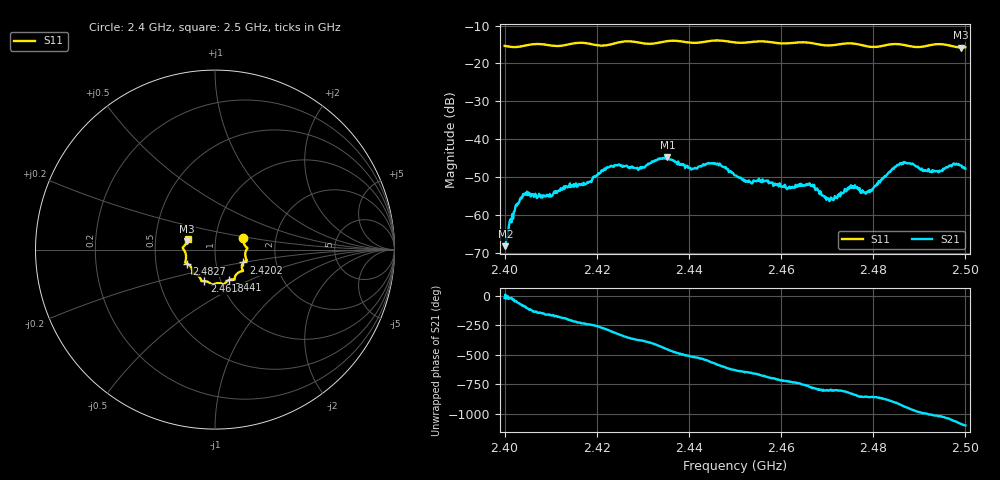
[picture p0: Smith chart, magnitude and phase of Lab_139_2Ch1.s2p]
# Hz S RI R 50
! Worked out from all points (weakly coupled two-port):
!   601 points, 2.4 GHz to 2.5 GHz, reference 50 ohm
!   highest |S21| = -44.78 dB at 2.4353 GHz (marker M1); lowest = -68.3 dB at 2.4002 GHz (marker M2)
!   lowest |S11| = -15.8 dB at 2.499 GHz (marker M3), VSWR 1.39, Z = 36.4 + j3.46 ohm
!   |S11| at or under -10 dB: start of sweep to end of sweep
!   S12 and S22 are empty: the file has one direction only
!   S11 on the Smith chart (normalised r, x): 2.4 GHz: 1.36, +0.18; 2.4202 GHz: 1.36, -0.20; 2.441 GHz: 1.10, -0.39; 2.4618 GHz: 0.84, -0.30; 2.4827 GHz: 0.72, -0.12; 2.5 GHz: 0.73, +0.09
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2.4e9  0.1586 0.0629  0.000372 -0.000131  0 0  0 0
2.400167e9  0.1584 0.0615  0.00038 7.13e-05  0 0  0 0
2.402167e9  0.1601 0.0372  0.000748 -0.000839  0 0  0 0
2.404333e9  0.1709 0.0173  -0.000109 -0.00192  0 0  0 0
2.416667e9  0.1773 -0.0609  -0.00153 0.00204  0 0  0 0
2.420167e9  0.1587 -0.0713  -0.00071 0.00325  0 0  0 0
2.433333e9  0.1117 -0.1507  0.00255 -0.00488  0 0  0 0
2.435333e9  0.1092 -0.1646  -0.000481 -0.00575  0 0  0 0
2.441e9  0.0788 -0.1697  -0.0038 -0.00149  0 0  0 0
2.445667e9  0.0505 -0.1945  -0.00385 0.0028  0 0  0 0
2.45e9  0.0287 -0.1873  6.14e-05 0.00333  0 0  0 0
2.461833e9  -0.059 -0.1754  0.00232 -0.000465  0 0  0 0
2.466667e9  -0.0787 -0.1684  0.00131 -0.00203  0 0  0 0
2.471e9  -0.1044 -0.1386  0.000132 -0.00161  0 0  0 0
2.475e9  -0.1273 -0.1334  -0.000703 -0.00217  0 0  0 0
2.479e9  -0.1297 -0.1054  -0.00158 -0.00136  0 0  0 0
2.482667e9  -0.1561 -0.0775  -0.00297 -0.00118  0 0  0 0
2.483333e9  -0.1604 -0.0754  -0.00352 -0.000815  0 0  0 0
2.486833e9  -0.1638 -0.061  -0.00369 0.00317  0 0  0 0
2.492667e9  -0.1761 0.00287  0.00121 0.00346  0 0  0 0
2.499e9  -0.1556 0.0463  0.00448 -0.000535  0 0  0 0
2.5e9  -0.1524 0.0605  0.00383 -0.00143  0 0  0 0
